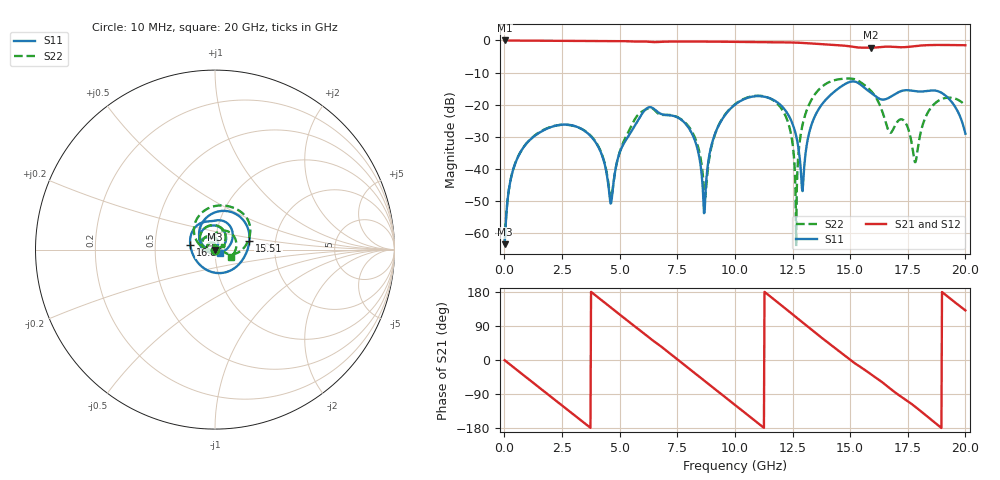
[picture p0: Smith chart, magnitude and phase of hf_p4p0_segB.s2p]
! Stitch-density study - 40 x 12 mm symmetric stripline, cut at x=20 mm
! Case: hf_p4p0_segB
! Sweep: 10 MHz - 20 GHz, 25 MHz step, 4 cores
# GHz S MA R 50.000000
! Terminal data exported
! Port[1] = U1.PAD1.SIG
! Port[2] = U2.PAD1.SIG
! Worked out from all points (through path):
!   801 points, 10 MHz to 20 GHz, reference 50 ohm
!   highest |S21| = -0.01 dB at 10 MHz (marker M1); lowest = -2.2 dB at 15.91 GHz (marker M2)
!   group delay of S21, straight-line fit = 132 ps
!   lowest |S11| = -63.5 dB at 10 MHz (marker M3), VSWR 1.00, Z = 50.1 - j0.00889 ohm
!   |S11| at or under -10 dB: start of sweep to end of sweep
!   |S22| runs from -64.1 to -11.9 dB; largest |S21 - S12| = 4.5e-13
!   S11 on the Smith chart (normalised r, x): 10 MHz: 1.00, -0.00; 15.51 GHz: 1.47, +0.15; 16.86 GHz: 0.76, +0.04; 20 GHz: 1.06, -0.04
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0.01  0.0006714 -7.6  0.9993 -0.5  0.9993 -0.5  0.0006714 -7.6
0.885  0.02302 -125.5  0.9927 -42.7  0.9927 -42.7  0.02306 -125.1
2.085  0.04552 171.9  0.9864 -100.1  0.9864 -100.1  0.04581 173.3
3.36  0.04151 107.7  0.9816 -161.0  0.9816 -161.0  0.0417 112.7
4.61  0.002875 -29.2  0.9776 139.1  0.9776 139.1  0.003428 131.1
5.66  0.04721 -166.0  0.9608 88.6  0.9608 88.6  0.05919 -179.9
6.685  0.07531 118.4  0.9467 41.0  0.9467 41.0  0.07211 110.0
8.06  0.03982 63.6  0.962 -25.1  0.962 -25.1  0.04227 63.5
8.66  0.002031 99.2  0.9587 -54.0  0.9587 -54.0  0.005002 77.1
9.11  0.03293 -170.5  0.9584 -75.7  0.9584 -75.7  0.03234 -176.3
10.01  0.1002 149.7  0.9492 -119.1  0.9492 -119.1  0.1017 145.5
11.935  0.102 54.5  0.9353 148.3  0.9353 148.3  0.09531 51.9
12.66  0.03238 12.2  0.9242 112.5  0.9242 112.5  0.000624 -137.5
12.935  0.004495 -94.6  0.9148 98.9  0.9148 98.9  0.04849 176.4
13.36  0.05291 169.1  0.894 78.0  0.894 78.0  0.1256 150.1
15.51  0.1974 14.0  0.7723 -20.9  0.7723 -20.9  0.216 25.0
15.91  0.1525 -38.6  0.7721 -37.8  0.7721 -37.8  0.1625 3.9
16.685  0.1281 -171.9  0.8003 -73.0  0.8003 -73.0  0.03802 3.0
16.86  0.1396 170.0  0.7953 -81.4  0.7953 -81.4  0.04082 31.2
17.835  0.1619 104.2  0.8183 -123.9  0.8183 -123.9  0.01273 63.6
18.635  0.1661 74.3  0.8492 -163.3  0.8492 -163.3  0.1012 80.2
20  0.03524 -31.3  0.842 130.9  0.842 130.9  0.09694 -25.8
